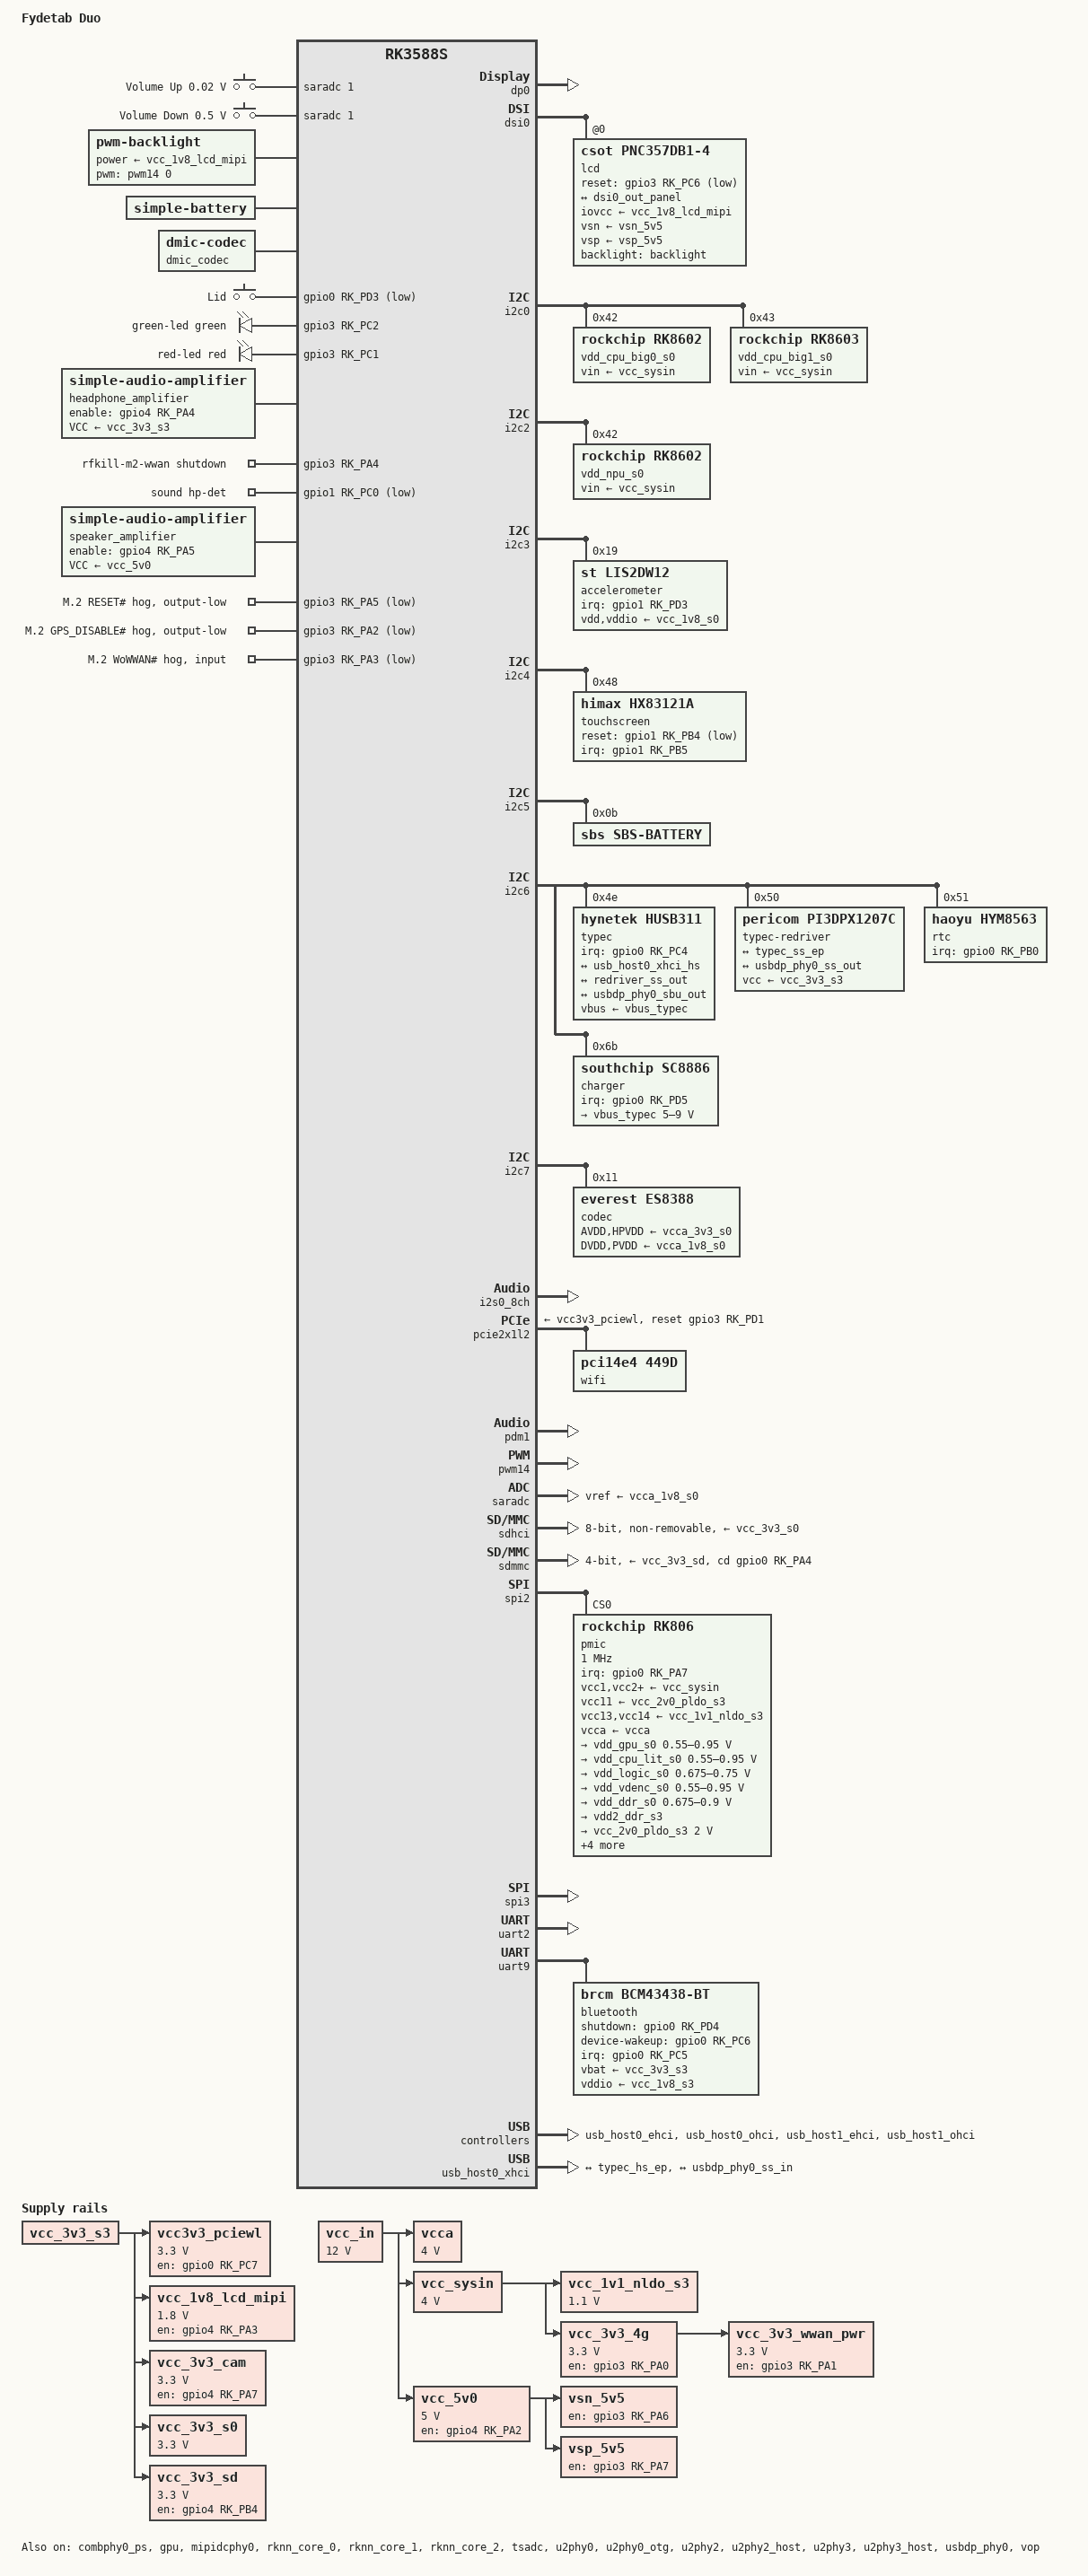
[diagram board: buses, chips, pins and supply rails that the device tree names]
// SPDX-License-Identifier: (GPL-2.0+ OR MIT)

/dts-v1/;

#include <dt-bindings/gpio/gpio.h>
#include <dt-bindings/input/gpio-keys.h>
#include <dt-bindings/input/linux-event-codes.h>
#include <dt-bindings/leds/common.h>
#include <dt-bindings/pinctrl/rockchip.h>
#include <dt-bindings/pwm/pwm.h>
#include <dt-bindings/soc/rockchip,vop2.h>
#include <dt-bindings/usb/pd.h>
#include "rk3588s.dtsi"

/ {
	model = "Fydetab Duo";
	chassis-type = "tablet";
	compatible = "fyde,fydetab-duo", "rockchip,rk3588s";

	aliases {
		mmc0 = &sdhci;
		mmc1 = &sdmmc;
	};

	chosen {
		stdout-path = "serial2:1500000n8";
	};

	adc-keys {
		compatible = "adc-keys";
		io-channels = <&saradc 1>;
		io-channel-names = "buttons";
		keyup-threshold-microvolt = <1800000>;
		poll-interval = <60>;

		button-vol-up {
			label = "Volume Up";
			linux,code = <KEY_VOLUMEUP>;
			press-threshold-microvolt = <20000>;
		};

		button-vol-down {
			label = "Volume Down";
			linux,code = <KEY_VOLUMEDOWN>;
			press-threshold-microvolt = <500000>;
		};
	};

	backlight: backlight {
		compatible = "pwm-backlight";
		pwms = <&pwm14 0 25000 0>;
		brightness-levels = <20 255>;
		num-interpolated-steps = <235>;
		default-brightness-level = <200>;
		power-supply = <&vcc_1v8_lcd_mipi>; // TODO: actually vcc_led0 but shares lcd_pwren_h gpio for power
		post-pwm-on-delay-ms = <250>;
	};

	// TODO: get rid of this
	battery: battery {
		compatible = "simple-battery";
		constant-charge-current-max-microamp = <2500000>;
		constant-charge-voltage-max-microvolt = <13200000>;
		voltage-min-design-microvolt = <9216000>;
	};

	dmic_codec: dmic-codec {
		compatible = "dmic-codec";
		num-channels = <2>;
		#sound-dai-cells = <0>;
	};

	gpio-keys {
		compatible = "gpio-keys";
		pinctrl-0 = <&hall_int_l>;
		pinctrl-names = "default";

		lid-switch {
			debounce-interval = <20>;
			gpios = <&gpio0 RK_PD3 GPIO_ACTIVE_LOW>;
			label = "Lid";
			linux,input-type = <EV_SW>;
			linux,code = <SW_LID>;
			wakeup-source;
			wakeup-event-action = <EV_ACT_DEASSERTED>;
		};
	};

	gpio-leds {
		compatible = "gpio-leds";
		pinctrl-0 = <&g_led_l
			     &r_led_l>;
		pinctrl-names = "default";

		green-led {
			color = <LED_COLOR_ID_GREEN>;
			gpios = <&gpio3 RK_PC2 GPIO_ACTIVE_HIGH>;
		};

		red-led {
			color = <LED_COLOR_ID_RED>;
			function = LED_FUNCTION_CHARGING;
			gpios = <&gpio3 RK_PC1 GPIO_ACTIVE_HIGH>;
			retain-state-suspended;
		};
	};

	headphone_amplifier: headphone-amplifier {
		compatible = "simple-audio-amplifier";
		pinctrl-0 = <&phone_ctl>;
		pinctrl-names = "default";
		enable-gpios = <&gpio4 RK_PA4 GPIO_ACTIVE_HIGH>;
		sound-name-prefix = "Headphone Amplifier";
		VCC-supply = <&vcc_3v3_s3>;
	};

	rfkill-wwan {
		compatible = "rfkill-gpio";
		pinctrl-0 = <&w_disable1_n>;
		pinctrl-names = "default";
		label = "rfkill-m2-wwan";
		radio-type = "wwan";
		shutdown-gpios = <&gpio3 RK_PA4 GPIO_ACTIVE_HIGH>;
	};

	sound {
		compatible = "simple-audio-card";
		pinctrl-0 = <&hp_det_l>;
		pinctrl-names = "default";
		simple-audio-card,name = "FydetabDuo";
		simple-audio-card,aux-devs = <&headphone_amplifier>,
					     <&speaker_amplifier>;
		simple-audio-card,hp-det-gpios = <&gpio1 RK_PC0 GPIO_ACTIVE_LOW>;
		simple-audio-card,pin-switches = "Headphones", "Speaker";
		simple-audio-card,routing =
			"Speaker Amplifier INL", "LOUT2",
			"Speaker Amplifier INR", "ROUT2",
			"Speaker", "Speaker Amplifier OUTL",
			"Speaker", "Speaker Amplifier OUTR",
			"Headphone Amplifier INL", "LOUT1",
			"Headphone Amplifier INR", "ROUT1",
			"Headphones", "Headphone Amplifier OUTL",
			"Headphones", "Headphone Amplifier OUTR",
			"LINPUT1", "Headset",
			"DMic", "Microphone";
		simple-audio-card,widgets =
			"Microphone", "Headset",
			"Microphone", "Microphone",
			"Headphone", "Headphones",
			"Speaker", "Speaker";
		#address-cells = <1>;
		#size-cells = <0>;

		simple-audio-card,dai-link@0 {
			reg = <0>;
			bitclock-master = <&link0_cpu>;
			format = "i2s";
			frame-master = <&link0_cpu>;
			mclk-fs = <256>;

			link0_cpu: cpu {
				sound-dai = <&i2s0_8ch>;
			};

			codec {
				sound-dai = <&codec>;
				system-clock-frequency = <12288000>;
			};
		};

		simple-audio-card,dai-link@1 {
			reg = <1>;
			bitclock-master = <&link1_cpu>;
			format = "pdm";
			frame-master = <&link1_cpu>;

			link1_cpu: cpu {
				sound-dai = <&pdm1>;
			};

			codec {
				sound-dai = <&dmic_codec>;
			};
		};
	};

	speaker_amplifier: speaker-amplifier {
		compatible = "simple-audio-amplifier";
		pinctrl-0 = <&spk_ctl_h>;
		pinctrl-names = "default";
		enable-gpios = <&gpio4 RK_PA5 GPIO_ACTIVE_HIGH>;
		sound-name-prefix = "Speaker Amplifier";
		VCC-supply = <&vcc_5v0>;
	};

	vcc3v3_pciewl: regulator-vcc3v3-pciewl {
		compatible = "regulator-fixed";
		pinctrl-0 = <&wifi_reg_on_h>;
		pinctrl-names = "default";
		enable-active-high;
		gpios = <&gpio0 RK_PC7 GPIO_ACTIVE_HIGH>;
		regulator-name = "vcc3v3_pciewl";
		regulator-min-microvolt = <3300000>;
		regulator-max-microvolt = <3300000>;
		vin-supply = <&vcc_3v3_s3>;
	};

	vcca: regulator-vcca {
		compatible = "regulator-fixed";
		regulator-name = "vcca";
		regulator-always-on;
		regulator-boot-on;
		regulator-min-microvolt = <4000000>;
		regulator-max-microvolt = <4000000>;
		vin-supply = <&vcc_in>;
	};

	vcc_in: regulator-vcc-in {
		compatible = "regulator-fixed";
		regulator-name = "vcc_in";
		regulator-always-on;
		regulator-boot-on;
		regulator-min-microvolt = <12000000>;
		regulator-max-microvolt = <12000000>;
	};

	vcc_sysin: regulator-vcc-sysin {
		compatible = "regulator-fixed";
		regulator-name = "vcc_sysin";
		regulator-always-on;
		regulator-boot-on;
		regulator-min-microvolt = <4000000>;
		regulator-max-microvolt = <4000000>;
		vin-supply = <&vcc_in>;
	};

	vcc_1v1_nldo_s3: regulator-vcc-1v1-nldo-s3 {
		compatible = "regulator-fixed";
		regulator-name = "vcc_1v1_nldo_s3";
		regulator-always-on;
		regulator-boot-on;
		regulator-min-microvolt = <1100000>;
		regulator-max-microvolt = <1100000>;
		vin-supply = <&vcc_sysin>;
	};

	vcc_1v8_lcd_mipi: regulator-vcc-1v8-lcd-mipi {
		compatible = "regulator-fixed";
		pinctrl-0 = <&lcd_pwren_h>;
		pinctrl-names = "default";
		enable-active-high;
		gpios = <&gpio4 RK_PA3 GPIO_ACTIVE_HIGH>;
		regulator-name = "vcc_1v8_lcd_mipi";
		regulator-boot-on;
		regulator-min-microvolt = <1800000>;
		regulator-max-microvolt = <1800000>;
		vin-supply = <&vcc_3v3_s3>;
	};

	vcc_3v3_4g: regulator-vcc-4g {
		compatible = "regulator-fixed";
		pinctrl-0 = <&lte_pwren_h>;
		pinctrl-names = "default";
		enable-active-high;
		gpios = <&gpio3 RK_PA0 GPIO_ACTIVE_HIGH>;
		regulator-name = "vcc_3v3_4g";
		regulator-min-microvolt = <3300000>;
		regulator-max-microvolt = <3300000>;
		startup-delay-us = <30000>;
		vin-supply = <&vcc_sysin>;
	};

	vcc_3v3_cam: regulator-vcc-3v3-cam {
		compatible = "regulator-fixed";
		pinctrl-0 = <&mipi_cam3_pwren_h>;
		pinctrl-names = "default";
		enable-active-high;
		gpios = <&gpio4 RK_PA7 GPIO_ACTIVE_HIGH>;
		regulator-name = "vcc_3v3_cam";
		regulator-always-on; // TODO: tell userspace about this somehow?
		regulator-boot-on;
		regulator-min-microvolt = <3300000>;
		regulator-max-microvolt = <3300000>;
		vin-supply = <&vcc_3v3_s3>;
	};

	vcc_3v3_s0: regulator-vcc-3v3-s0 {
		compatible = "regulator-fixed";
		regulator-name = "vcc_3v3_s0";
		regulator-always-on;
		regulator-boot-on;
		regulator-min-microvolt = <3300000>;
		regulator-max-microvolt = <3300000>;
		vin-supply = <&vcc_3v3_s3>;
	};

	vcc_3v3_sd: regulator-vcc-3v3-sd {
		compatible = "regulator-fixed";
		pinctrl-0 = <&sdmmc_pwren>;
		pinctrl-names = "default";
		enable-active-high;
		gpios = <&gpio4 RK_PB4 GPIO_ACTIVE_HIGH>;
		regulator-name = "vcc_3v3_sd";
		regulator-min-microvolt = <3300000>;
		regulator-max-microvolt = <3300000>;
		vin-supply = <&vcc_3v3_s3>;
	};

	vcc_3v3_wwan_pwr: regulator-vcc-3v3-wwan-pwr {
		compatible = "regulator-fixed";
		pinctrl-0 = <&lte_modem_power_on_off>;
		pinctrl-names = "default";
		enable-active-high;
		gpios = <&gpio3 RK_PA1 GPIO_ACTIVE_HIGH>;
		regulator-name = "vcc_3v3_wwan_pwr";
		regulator-min-microvolt = <3300000>;
		regulator-max-microvolt = <3300000>;
		vin-supply = <&vcc_3v3_4g>;
	};

	vcc_5v0: regulator-vcc-5v0 {
		compatible = "regulator-fixed";
		pinctrl-0 = <&vcc_5v0_pwren_h>;
		pinctrl-names = "default";
		enable-active-high;
		gpios = <&gpio4 RK_PA2 GPIO_ACTIVE_HIGH>;
		regulator-name = "vcc_5v0";
		regulator-always-on; // TODO: supplies pogo pins
		regulator-boot-on;
		regulator-min-microvolt = <5000000>;
		regulator-max-microvolt = <5000000>;
		vin-supply = <&vcc_in>;
	};

	vsn_5v5: regulator-vsn-5v5 {
		compatible = "regulator-fixed";
		pinctrl-0 = <&avee_lcd_en>;
		pinctrl-names = "default";
		enable-active-high;
		gpios = <&gpio3 RK_PA6 GPIO_ACTIVE_HIGH>;
		regulator-name = "vsn_5v5";
		regulator-boot-on;
		vin-supply = <&vcc_5v0>;
	};

	vsp_5v5: regulator-vsp-5v5 {
		compatible = "regulator-fixed";
		pinctrl-0 = <&avdd_lcd_en>;
		pinctrl-names = "default";
		enable-active-high;
		gpios = <&gpio3 RK_PA7 GPIO_ACTIVE_HIGH>;
		regulator-name = "vsp_5v5";
		regulator-boot-on;
		vin-supply = <&vcc_5v0>;
	};
};

&combphy0_ps {
	status = "okay";
};

&cpu_b0 {
	cpu-supply = <&vdd_cpu_big0_s0>;
};

&cpu_b1 {
	cpu-supply = <&vdd_cpu_big0_s0>;
};

&cpu_b2 {
	cpu-supply = <&vdd_cpu_big1_s0>;
};

&cpu_b3 {
	cpu-supply = <&vdd_cpu_big1_s0>;
};

&cpu_l0 {
	cpu-supply = <&vdd_cpu_lit_s0>;
};

&cpu_l1 {
	cpu-supply = <&vdd_cpu_lit_s0>;
};

&cpu_l2 {
	cpu-supply = <&vdd_cpu_lit_s0>;
};

&cpu_l3 {
	cpu-supply = <&vdd_cpu_lit_s0>;
};

&dp0 {
	status = "okay";
};

&dp0_in {
	dp0_in_vp0: endpoint {
		remote-endpoint = <&vp0_out_dp0>;
	};
};

&dp0_out {
	dp0_out_con: endpoint {
		remote-endpoint = <&usbdp_phy0_dp_in>;
	};
};

&dsi0 {
	status = "okay";
	#address-cells = <1>;
	#size-cells = <0>;

	lcd: panel@0 {
		compatible = "csot,pnc357db1-4";
		reg = <0>;
		backlight = <&backlight>;
		pinctrl-0 = <&lcd_rst_n>;
		pinctrl-names = "default";
		reset-gpios = <&gpio3 RK_PC6 GPIO_ACTIVE_LOW>;
		iovcc-supply = <&vcc_1v8_lcd_mipi>;
		vsn-supply = <&vsn_5v5>;
		vsp-supply = <&vsp_5v5>;
		rotation = <90>;

		port {
			dsi_panel_in: endpoint {
				remote-endpoint = <&dsi0_out_panel>;
			};
		};
	};
};

&dsi0_in {
	dsi0_in_vp2: endpoint {
		remote-endpoint = <&vp2_out_dsi0>;
	};
};

&dsi0_out {
	dsi0_out_panel: endpoint {
		remote-endpoint = <&dsi_panel_in>;
	};
};

&gpio3 {
	4g-rst-n-hog {
		gpios = <RK_PA5 GPIO_ACTIVE_LOW>;
		output-low;
		line-name = "M.2 RESET#";
		gpio-hog;
	};

	w-disable2-n-hog {
		gpios = <RK_PA2 GPIO_ACTIVE_LOW>;
		output-low;
		line-name = "M.2 GPS_DISABLE#";
		gpio-hog;
	};

	wowwan-n-hog {
		gpios = <RK_PA3 GPIO_ACTIVE_LOW>;
		input;
		line-name = "M.2 WoWWAN#";
		gpio-hog;
	};
};

&gpu {
	mali-supply = <&vdd_gpu_s0>;
	status = "okay";
};

&i2c0 {
	pinctrl-0 = <&i2c0m2_xfer>;
	status = "okay";

	vdd_cpu_big0_s0: regulator@42 {
		compatible = "rockchip,rk8602";
		reg = <0x42>;
		fcs,suspend-voltage-selector = <1>;
		regulator-name = "vdd_cpu_big0_s0";
		regulator-always-on;
		regulator-boot-on;
		regulator-min-microvolt = <550000>;
		regulator-max-microvolt = <1050000>;
		regulator-ramp-delay = <2300>;
		vin-supply = <&vcc_sysin>;

		regulator-state-mem {
			regulator-off-in-suspend;
		};
	};

	vdd_cpu_big1_s0: regulator@43 {
		compatible = "rockchip,rk8603", "rockchip,rk8602";
		reg = <0x43>;
		fcs,suspend-voltage-selector = <1>;
		regulator-name = "vdd_cpu_big1_s0";
		regulator-always-on;
		regulator-boot-on;
		regulator-min-microvolt = <550000>;
		regulator-max-microvolt = <1050000>;
		regulator-ramp-delay = <2300>;
		vin-supply = <&vcc_sysin>;

		regulator-state-mem {
			regulator-off-in-suspend;
		};
	};
};

&i2c2 {
	pinctrl-0 = <&i2c2m0_xfer>;
	status = "okay";

	vdd_npu_s0: regulator@42 {
		compatible = "rockchip,rk8602";
		reg = <0x42>;
		fcs,suspend-voltage-selector = <1>;
		regulator-name = "vdd_npu_s0";
		//regulator-min-microvolt = <550000>; TODO: Put back once NPU DVFS is sorted
		//regulator-max-microvolt = <950000>;
		regulator-min-microvolt = <675000>;
		regulator-max-microvolt = <675000>;
		regulator-ramp-delay = <2300>;
		vin-supply = <&vcc_sysin>;

		regulator-state-mem {
			regulator-off-in-suspend;
		};
	};
};

&i2c3 {
	pinctrl-0 = <&i2c3m1_xfer>;
	status = "okay";

	accelerometer@19 {
		compatible = "st,lis2dw12";
		reg = <0x19>;
		st,drdy-int-pin = <1>;
		vdd-supply = <&vcc_1v8_s0>;
		vddio-supply = <&vcc_1v8_s0>;
		interrupt-parent = <&gpio1>;
		interrupts = <RK_PD3 IRQ_TYPE_LEVEL_LOW>;
		pinctrl-0 = <&gsensor_int_l>;
		pinctrl-names = "default";
		mount-matrix = "0", "1", "0",
			       "1", "0", "0",
			       "0", "0", "-1";
	};
};

&i2c4 {
	pinctrl-0 = <&i2c4m3_xfer>;
	status = "okay";

	touchscreen@48 {
		compatible = "himax,hx83121a";
		reg = <0x48>;
		interrupt-parent = <&gpio1>;
		interrupts = <RK_PB5 IRQ_TYPE_LEVEL_LOW>;
		pinctrl-0 = <&tp_int_l
			     &tp_rst_l>;
		pinctrl-names = "default";
		panel = <&lcd>;
		touchscreen-size-x = <1600>;
		touchscreen-size-y = <2560>;
		reset-gpios = <&gpio1 RK_PB4 GPIO_ACTIVE_LOW>;
	};
};

&i2c5 {
	pinctrl-0 = <&i2c5m3_xfer>;
	status = "okay";

	sbs-battery@b {
		compatible = "sbs,sbs-battery";
		reg = <0x0b>;
		monitored-battery = <&battery>;
		power-supplies = <&charger>;
		sbs,poll-retry-count = <100>;
		sbs,i2c-retry-count = <100>;
	};
};

&i2c6 {
	pinctrl-0 = <&i2c6m3_xfer>;
	status = "okay";

	typec: typec@4e {
		compatible = "hynetek,husb311";
		reg = <0x4e>;
		interrupt-parent = <&gpio0>;
		interrupts = <RK_PC4 IRQ_TYPE_LEVEL_LOW>;
		pinctrl-0 = <&cc_int0_l>;
		pinctrl-names = "default";
		self-powered;
		vbus-supply = <&vbus_typec>;

		connector {
			compatible = "usb-c-connector";
			label = "USB-C";
			power-role = "dual";
			try-power-role = "sink";
			data-role = "dual";
			op-sink-microwatt = <1000000>;

			source-pdos = <PDO_FIXED(5000, 3000,
						 PDO_FIXED_DUAL_ROLE |
						 PDO_FIXED_USB_COMM |
						 PDO_FIXED_DATA_SWAP)>,
				      <PDO_FIXED(9000, 2000, 0)>;

			sink-pdos = <PDO_FIXED(5000, 3000,
					       PDO_FIXED_DUAL_ROLE |
					       PDO_FIXED_USB_COMM |
					       PDO_FIXED_DATA_SWAP)>,
				    <PDO_VAR(5000, 20000, 3000)>;

			altmodes {
				displayport {
					svid = /bits/ 16 <0xff01>;
					vdo = <0xffffffff>;
				};
			};

			ports {
				#address-cells = <1>;
				#size-cells = <0>;

				port@0 {
					reg = <0>;

					typec_hs_ep: endpoint {
						remote-endpoint = <&usb_host0_xhci_hs>;
					};
				};

				port@1 {
					reg = <1>;

					typec_ss_ep: endpoint {
						remote-endpoint = <&redriver_ss_out>;
					};
				};

				port@2 {
					reg = <2>;

					typec_sbu_ep: endpoint {
						remote-endpoint = <&usbdp_phy0_sbu_out>;
					};
				};
			};
		};
	};

	typec-redriver@50 {
		compatible = "pericom,pi3dpx1207c";
		reg = <0x50>;
		vcc-supply = <&vcc_3v3_s3>;
		orientation-switch;
		retimer-switch;

		ports {
			#address-cells = <1>;
			#size-cells = <0>;

			port@0 {
				reg = <0>;

				redriver_ss_out: endpoint {
					remote-endpoint = <&typec_ss_ep>;
				};
			};

			port@1 {
				reg = <1>;

				redriver_ss_in: endpoint {
					data-lanes = <0 1 2 3>;
					remote-endpoint = <&usbdp_phy0_ss_out>;
				};
			};
		};
	};

	rtc: rtc@51 {
		compatible = "haoyu,hym8563";
		reg = <0x51>;
		#clock-cells = <0>;
		clock-output-names = "hym8563";
		interrupt-parent = <&gpio0>;
		interrupts = <RK_PB0 IRQ_TYPE_LEVEL_LOW>;
		pinctrl-0 = <&rtc_int_l>;
		pinctrl-names = "default";
		wakeup-source;
	};

	charger: charger@6b {
		compatible = "southchip,sc8886";
		reg = <0x6b>;
		interrupt-parent = <&gpio0>;
		interrupts = <RK_PD5 IRQ_TYPE_LEVEL_LOW>;
		pinctrl-0 = <&chrg_ok_h>;
		pinctrl-names = "default";
		input-current-limit-microamp = <5000000>;
		monitored-battery = <&battery>;
		power-supplies = <&typec>;

		regulators {
			vbus_typec: vbus {
				enable-gpios = <&gpio4 RK_PA6 GPIO_ACTIVE_HIGH>;
				pinctrl-0 = <&bq_otg_en_h>;
				pinctrl-names = "default";
				regulator-min-microamp = <500000>;
				regulator-min-microvolt = <5000000>;
				regulator-max-microamp = <3000000>;
				regulator-max-microvolt = <9000000>;
				regulator-name = "vbus_typec";
			};
		};
	};
};

&i2c7 {
	pinctrl-0 = <&i2c7m0_xfer>;
	status = "okay";

	codec: audio-codec@11 {
		compatible = "everest,es8388", "everest,es8328";
		reg = <0x11>;
		assigned-clocks = <&cru I2S0_8CH_MCLKOUT>;
		assigned-clock-rates = <12288000>;
		AVDD-supply = <&vcca_3v3_s0>;
		clocks = <&cru I2S0_8CH_MCLKOUT>;
		DVDD-supply = <&vcca_1v8_s0>;
		HPVDD-supply = <&vcca_3v3_s0>;
		PVDD-supply = <&vcca_1v8_s0>;
		#sound-dai-cells = <0>;
	};
};

&i2s0_8ch {
	pinctrl-0 = <&i2s0_lrck
		     &i2s0_mclk
		     &i2s0_sclk
		     &i2s0_sdi0
		     &i2s0_sdo0>;
	status = "okay";
};

&mipidcphy0 {
	status = "okay";
};

&pcie2x1l2 {
	pinctrl-0 = <&pcie20x1m0_clkreqn
		     &pcie20x1m0_perstn
		     &pcie20x1m0_waken>;
	pinctrl-names = "default";
	reset-gpios = <&gpio3 RK_PD1 GPIO_ACTIVE_HIGH>;
	vpcie3v3-supply = <&vcc3v3_pciewl>;
	status = "okay";

	pci@0,0 {
		device_type = "pci";
		reg = <0x400000 0 0 0 0>;
		bus-range = <0x40 0x4f>;
		#address-cells = <3>;
		#size-cells = <2>;
		ranges;

		wifi@0,0 {
			compatible = "pci14e4,449d";
			reg = <0x410000 0 0 0 0>;
			clocks = <&rtc>;
			clock-names = "lpo";
		};
	};
};

&pd_gpu {
	domain-supply = <&vdd_gpu_s0>;
};

&pd_npu {
	domain-supply = <&vdd_npu_s0>;
};

&pdm1 {
	pinctrl-0 = <&pdm1m1_clk1
		     &pdm1m1_sdi3>;
	/* Microphone is on channel 3 */
	rockchip,path-map = <3>, <0>, <1>, <2>;
	status = "okay";
};

&pinctrl {
	accelerometer {
		gsensor_int_l: gsensor-int-l {
			rockchip,pins = <1 RK_PD3 RK_FUNC_GPIO &pcfg_pull_none>;
		};
	};

	backlight {
		lcd_pwren_h: lcd-pwren-h {
			rockchip,pins = <4 RK_PA3 RK_FUNC_GPIO &pcfg_pull_none>;
		};
	};

	bluetooth {
		bt_reg_on_h: bt-reg-on-h {
			rockchip,pins = <0 RK_PD4 RK_FUNC_GPIO &pcfg_pull_none>;
		};

		bt_wake_host_h: bt-wake-host-h {
			rockchip,pins = <0 RK_PC5 RK_FUNC_GPIO &pcfg_pull_none>;
		};

		host_wake_bt_h: host-wake-bt-h {
			rockchip,pins = <0 RK_PC6 RK_FUNC_GPIO &pcfg_pull_none>;
		};
	};

	camera {
		mipi_cam3_pwren_h: mipi-cam3-pwren-h {
			rockchip,pins = <4 RK_PA7 RK_FUNC_GPIO &pcfg_pull_none>;
		};
	};

	charger {
		bq_otg_en_h: bq-otg-en-h {
			rockchip,pins = <4 RK_PA6 RK_FUNC_GPIO &pcfg_pull_none>;
		};

		chrg_ok_h: chrg-ok-h {
			rockchip,pins = <0 RK_PD5 RK_FUNC_GPIO &pcfg_pull_none>;
		};
	};

	gpio-keys {
		hall_int_l: hall-int-l {
			rockchip,pins = <0 RK_PD3 RK_FUNC_GPIO &pcfg_pull_none>;
		};
	};

	gpio-leds {
		g_led_l: g-led-l {
			rockchip,pins = <3 RK_PC2 RK_FUNC_GPIO &pcfg_pull_none>;
		};

		r_led_l: r-led-l {
			rockchip,pins = <3 RK_PC1 RK_FUNC_GPIO &pcfg_pull_none>;
		};
	};

	panel {
		avdd_lcd_en: avdd-lcd-en {
			rockchip,pins = <3 RK_PA7 RK_FUNC_GPIO &pcfg_pull_none>;
		};

		avee_lcd_en: avee-lcd-en {
			rockchip,pins = <3 RK_PA6 RK_FUNC_GPIO &pcfg_pull_none>;
		};

		lcd_rst_n: lcd-rst-n {
			rockchip,pins = <3 RK_PC6 RK_FUNC_GPIO &pcfg_pull_none>;
		};
	};

	regulator-vcc-5v0 {
		vcc_5v0_pwren_h: vcc-5v0-pwren-h {
			rockchip,pins = <4 RK_PA2 RK_FUNC_GPIO &pcfg_pull_none>;
		};
	};

	rtc {
		rtc_int_l: rtc-int-l {
			rockchip,pins = <0 RK_PB0 RK_FUNC_GPIO &pcfg_pull_none>;
		};
	};

	sdmmc {
		sdmmc_pwren: sdmmc-pwren {
			rockchip,pins = <4 RK_PB4 RK_FUNC_GPIO &pcfg_pull_none>;
		};
	};

	sound {
		hp_det_l: hp-det-l {
			rockchip,pins = <1 RK_PC0 RK_FUNC_GPIO &pcfg_pull_none>;
		};

		phone_ctl: phone-ctl {
			rockchip,pins = <4 RK_PA4 RK_FUNC_GPIO &pcfg_pull_none>;
		};

		spk_ctl_h: spk-ctl-h {
			rockchip,pins = <4 RK_PA5 RK_FUNC_GPIO &pcfg_pull_none>;
		};
	};

	touchscreen {
		tp_int_l: tp-int-l {
			rockchip,pins = <1 RK_PB5 RK_FUNC_GPIO &pcfg_pull_none>;
		};

		tp_rst_l: tp-rst-l {
			rockchip,pins = <1 RK_PB4 RK_FUNC_GPIO &pcfg_pull_none>;
		};
	};

	typec {
		cc_int0_l: cc-int0-l {
			rockchip,pins = <0 RK_PC4 RK_FUNC_GPIO &pcfg_pull_none>;
		};
	};

	usbdp-phy0 {
		typec0_sbu: typec0-sbu {
			rockchip,pins = <4 RK_PA0 RK_FUNC_GPIO &pcfg_pull_none>,
					<4 RK_PA1 RK_FUNC_GPIO &pcfg_pull_none>;
		};
	};

	wifi {
		wifi_reg_on_h: wifi-reg-on-h {
			rockchip,pins = <0 RK_PC7 RK_FUNC_GPIO &pcfg_pull_none>;
		};
	};

	wwan {
		lte_modem_power_on_off: lte-modem-power-on-off {
			rockchip,pins = <3 RK_PA1 RK_FUNC_GPIO &pcfg_pull_none>;
		};

		lte_pwren_h: lte-pwren-h {
			rockchip,pins = <3 RK_PA0 RK_FUNC_GPIO &pcfg_pull_none>;
		};

		w_disable1_n: w-disable1-n {
			rockchip,pins = <3 RK_PA4 RK_FUNC_GPIO &pcfg_pull_none>;
		};
	};
};

&pwm14 {
	pinctrl-0 = <&pwm14m1_pins>;
	status = "okay";
};

&rknn_core_0 {
	npu-supply = <&vdd_npu_s0>;
	sram-supply = <&vdd_npu_s0>;
	status = "okay";
};

&rknn_core_1 {
	npu-supply = <&vdd_npu_s0>;
	sram-supply = <&vdd_npu_s0>;
	status = "okay";
};

&rknn_core_2 {
	npu-supply = <&vdd_npu_s0>;
	sram-supply = <&vdd_npu_s0>;
	status = "okay";
};

&rknn_mmu_0 {
	status = "okay";
};

&rknn_mmu_1 {
	status = "okay";
};

&rknn_mmu_2 {
	status = "okay";
};

&saradc {
	vref-supply = <&vcca_1v8_s0>;
	status = "okay";
};

&sdhci {
	bus-width = <8>;
	no-sd;
	no-sdio;
	non-removable;
	mmc-hs400-1_8v;
	mmc-hs400-enhanced-strobe;
	vmmc-supply = <&vcc_3v3_s0>;
	vqmmc-supply = <&vcc_1v8_s3>;
	status = "okay";
};

&sdmmc {
	bus-width = <4>;
	cap-mmc-highspeed;
	cap-sd-highspeed;
	cd-gpios = <&gpio0 RK_PA4 GPIO_ACTIVE_HIGH>;
	disable-wp;
	max-frequency = <150000000>;
	no-sdio;
	no-mmc;
	//sd-uhs-sdr104; TODO: Validate
	vmmc-supply = <&vcc_3v3_sd>;
	vqmmc-supply = <&vccio_sd_s0>;
	status = "okay";
};

&spi2 {
	assigned-clocks = <&cru CLK_SPI2>;
	assigned-clock-rates = <200000000>;
	num-cs = <1>;
	pinctrl-0 = <&spi2m2_cs0
		     &spi2m2_pins>;
	status = "okay";
	#address-cells = <1>;
	#size-cells = <0>;

	pmic@0 {
		compatible = "rockchip,rk806";
		reg = <0>;
		interrupt-parent = <&gpio0>;
		interrupts = <RK_PA7 IRQ_TYPE_LEVEL_LOW>;
		pinctrl-0 = <&pmic_pins
			     &rk806_dvs1_null
			     &rk806_dvs2_null
			     &rk806_dvs3_null>;
		pinctrl-names = "default";
		spi-max-frequency = <1000000>;
		system-power-controller;

		vcc1-supply = <&vcc_sysin>;
		vcc2-supply = <&vcc_sysin>;
		vcc3-supply = <&vcc_sysin>;
		vcc4-supply = <&vcc_sysin>;
		vcc5-supply = <&vcc_sysin>;
		vcc6-supply = <&vcc_sysin>;
		vcc7-supply = <&vcc_sysin>;
		vcc8-supply = <&vcc_sysin>;
		vcc9-supply = <&vcc_sysin>;
		vcc10-supply = <&vcc_sysin>;
		vcc11-supply = <&vcc_2v0_pldo_s3>;
		vcc12-supply = <&vcc_sysin>;
		vcc13-supply = <&vcc_1v1_nldo_s3>;
		vcc14-supply = <&vcc_1v1_nldo_s3>;
		vcca-supply = <&vcca>;

		gpio-controller;
		#gpio-cells = <2>;

		rk806_dvs1_null: dvs1-null-pins {
			pins = "gpio_pwrctrl1";
			function = "pin_fun0";
		};

		rk806_dvs2_null: dvs2-null-pins {
			pins = "gpio_pwrctrl2";
			function = "pin_fun0";
		};

		rk806_dvs3_null: dvs3-null-pins {
			pins = "gpio_pwrctrl3";
			function = "pin_fun0";
		};

		regulators {
			vdd_gpu_s0: dcdc-reg1 {
				regulator-name = "vdd_gpu_s0";
				regulator-boot-on;
				regulator-min-microvolt = <550000>;
				regulator-max-microvolt = <950000>;
				regulator-ramp-delay = <12500>;
				regulator-enable-ramp-delay = <400>;

				regulator-state-mem {
					regulator-off-in-suspend;
				};
			};

			vdd_cpu_lit_s0: dcdc-reg2 {
				regulator-name = "vdd_cpu_lit_s0";
				regulator-always-on;
				regulator-boot-on;
				regulator-min-microvolt = <550000>;
				regulator-max-microvolt = <950000>;
				regulator-ramp-delay = <12500>;

				regulator-state-mem {
					regulator-off-in-suspend;
				};
			};

			vdd_logic_s0: dcdc-reg3 {
				regulator-name = "vdd_logic_s0";
				regulator-always-on;
				regulator-boot-on;
				regulator-min-microvolt = <675000>;
				regulator-max-microvolt = <750000>;
				regulator-ramp-delay = <12500>;

				regulator-state-mem {
					regulator-off-in-suspend;
					regulator-suspend-microvolt = <750000>;
				};
			};

			vdd_vdenc_s0: dcdc-reg4 {
				regulator-name = "vdd_vdenc_s0";
				regulator-always-on; // TODO: why?
				regulator-boot-on;
				regulator-min-microvolt = <550000>;
				regulator-max-microvolt = <950000>;
				regulator-ramp-delay = <12500>;

				regulator-state-mem {
					regulator-off-in-suspend;
				};
			};

			vdd_ddr_s0: dcdc-reg5 {
				regulator-name = "vdd_ddr_s0";
				regulator-always-on;
				regulator-boot-on;
				regulator-min-microvolt = <675000>;
				regulator-max-microvolt = <900000>;
				regulator-ramp-delay = <12500>;

				regulator-state-mem {
					regulator-off-in-suspend;
					regulator-suspend-microvolt = <850000>;
				};
			};

			vdd2_ddr_s3: dcdc-reg6 {
				regulator-name = "vdd2_ddr_s3";
				regulator-always-on;
				regulator-boot-on;

				regulator-state-mem {
					regulator-on-in-suspend;
				};
			};

			/* Schematics show active during suspend but all consumers inactive */
			vcc_2v0_pldo_s3: dcdc-reg7 {
				regulator-name = "vcc_2v0_pldo_s3";
				regulator-always-on;
				regulator-boot-on;
				regulator-min-microvolt = <2000000>;
				regulator-max-microvolt = <2000000>;

				regulator-state-mem {
					regulator-on-in-suspend; // TODO: all consumers are off during suspend, can this be switched off too?
					regulator-suspend-microvolt = <2000000>;
				};
			};

			vcc_3v3_s3: dcdc-reg8 {
				regulator-name = "vcc_3v3_s3";
				regulator-always-on;
				regulator-boot-on;
				regulator-min-microvolt = <3300000>;
				regulator-max-microvolt = <3300000>;

				regulator-state-mem {
					regulator-on-in-suspend;
					regulator-suspend-microvolt = <3300000>;
				};
			};

			vddq_ddr_s0: dcdc-reg9 {
				regulator-name = "vddq_ddr_s0";
				regulator-always-on;
				regulator-boot-on;

				regulator-state-mem {
					regulator-off-in-suspend;
				};
			};

			vcc_1v8_s3: dcdc-reg10 {
				regulator-name = "vcc_1v8_s3";
				regulator-always-on;
				regulator-boot-on;
				regulator-min-microvolt = <1800000>;
				regulator-max-microvolt = <1800000>;

				regulator-state-mem {
					regulator-on-in-suspend;
					regulator-suspend-microvolt = <1800000>;
				};
			};

			vcc_1v8_s0: pldo-reg1 {
				regulator-name = "vcc_1v8_s0";
				regulator-always-on;
				regulator-boot-on;
				regulator-min-microvolt = <1800000>;
				regulator-max-microvolt = <1800000>;

				regulator-state-mem {
					regulator-off-in-suspend;
				};
			};

			vcca_1v8_s0: pldo-reg2 {
				regulator-name = "vcca_1v8_s0";
				regulator-always-on;
				regulator-boot-on;
				regulator-min-microvolt = <1800000>;
				regulator-max-microvolt = <1800000>;

				regulator-state-mem {
					regulator-off-in-suspend;
					regulator-suspend-microvolt = <1800000>;
				};
			};

			vdda_1v2_s0: pldo-reg3 {
				regulator-name = "vdda_1v2_s0";
				regulator-always-on;
				regulator-boot-on;
				regulator-min-microvolt = <1200000>;
				regulator-max-microvolt = <1200000>;

				regulator-state-mem {
					regulator-off-in-suspend;
				};
			};

			vcca_3v3_s0: pldo-reg4 {
				regulator-name = "vcca_3v3_s0";
				regulator-always-on;
				regulator-boot-on;
				regulator-min-microvolt = <3300000>;
				regulator-max-microvolt = <3300000>;

				regulator-state-mem {
					regulator-off-in-suspend;
				};
			};

			vccio_sd_s0: pldo-reg5 {
				regulator-name = "vccio_sd_s0";
				regulator-always-on; // TODO: why?
				regulator-boot-on;
				regulator-min-microvolt = <1800000>;
				regulator-max-microvolt = <3300000>;

				regulator-state-mem {
					regulator-off-in-suspend;
				};
			};

			/* Schematics show not in use */
			pldo-reg6 {
			};

			vdd_0v75_s3: nldo-reg1 {
				regulator-name = "vdd_0v75_s3";
				regulator-always-on;
				regulator-boot-on;
				regulator-min-microvolt = <750000>;
				regulator-max-microvolt = <750000>;

				regulator-state-mem {
					regulator-on-in-suspend;
					regulator-suspend-microvolt = <750000>;
				};
			};

			vdda_ddr_pll_s0: nldo-reg2 {
				regulator-name = "vdda_ddr_pll_s0";
				regulator-always-on;
				regulator-boot-on;
				regulator-min-microvolt = <850000>;
				regulator-max-microvolt = <850000>;

				regulator-state-mem {
					regulator-off-in-suspend;
					regulator-suspend-microvolt = <850000>;
				};
			};

			vdda_0v75_s0: nldo-reg3 {
				regulator-name = "vdda_0v75_s0";
				regulator-always-on;
				regulator-boot-on;
				regulator-min-microvolt = <750000>;
				regulator-max-microvolt = <750000>;

				regulator-state-mem {
					regulator-off-in-suspend;
				};
			};

			vdda_0v85_s0: nldo-reg4 {
				regulator-name = "vdda_0v85_s0";
				regulator-always-on;
				regulator-boot-on;
				regulator-min-microvolt = <850000>;
				regulator-max-microvolt = <850000>;

				regulator-state-mem {
					regulator-off-in-suspend;
				};
			};

			/* Schematics show not in use */
			nldo-reg5 {
			};
		};
	};
};

&spi3 {
	assigned-clocks = <&cru CLK_SPI3>;
	assigned-clock-rates = <200000000>;
	num-cs = <1>;
	pinctrl-0 = <&spi3m1_cs0
		     &spi3m1_pins>;
	status = "okay";

	/* Fingerprint reader */
};

&tsadc {
	status = "okay";
};

&u2phy0 {
	status = "okay";
};

&u2phy0_otg {
	status = "okay";
};

&u2phy2 {
	status = "okay";
};

&u2phy2_host {
	/* Connected to M.2 slot */
	phy-supply = <&vcc_3v3_wwan_pwr>;
	status = "okay";
};

&u2phy3 {
	status = "okay";
};

&u2phy3_host {
	/* Connected to USB hub, which is powered by vcc_3v3_s3 */
	phy-supply = <&vcc_3v3_s3>;
	status = "okay";
};

&uart2 {
	pinctrl-0 = <&uart2m0_xfer>;
	status = "okay";
};

&uart9 {
	pinctrl-0 = <&uart9m2_xfer
		     &uart9m2_ctsn
		     &uart9m2_rtsn>;
	uart-has-rtscts;
	status = "okay";

	bluetooth {
		compatible = "brcm,bcm43438-bt";
		interrupt-parent = <&gpio0>;
		interrupts = <RK_PC5 IRQ_TYPE_LEVEL_HIGH>;
		interrupt-names = "host-wakeup";
		pinctrl-0 = <&bt_reg_on_h
			     &bt_wake_host_h
			     &host_wake_bt_h>;
		pinctrl-names = "default";
		shutdown-gpios = <&gpio0 RK_PD4 GPIO_ACTIVE_HIGH>;
		device-wakeup-gpios = <&gpio0 RK_PC6 GPIO_ACTIVE_HIGH>;
		max-speed = <3000000>;
		clocks = <&rtc>;
		clock-names = "lpo";
		vbat-supply = <&vcc_3v3_s3>;
		vddio-supply = <&vcc_1v8_s3>;
	};
};

&usb_host0_ehci {
	status = "okay";
};

&usb_host0_ohci {
	status = "okay";
};

&usb_host0_xhci {
	usb-role-switch;
	status = "okay";

	ports {
		#address-cells = <1>;
		#size-cells = <0>;

		port@0 {
			reg = <0>;

			usb_host0_xhci_hs: endpoint {
				remote-endpoint = <&typec_hs_ep>;
			};
		};

		port@1 {
			reg = <1>;

			usb_host0_xhci_ss: endpoint {
				remote-endpoint = <&usbdp_phy0_ss_in>;
			};
		};
	};
};

&usb_host1_ehci {
	status = "okay";
};

&usb_host1_ohci {
	status = "okay";
};

&usbdp_phy0 {
	mode-switch;
	orientation-switch;
	pinctrl-0 = <&typec0_sbu>;
	pinctrl-names = "default";
	sbu1-dc-gpios = <&gpio4 RK_PA0 GPIO_ACTIVE_HIGH>;
	sbu2-dc-gpios = <&gpio4 RK_PA1 GPIO_ACTIVE_HIGH>;
	status = "okay";

	ports {
		#address-cells = <1>;
		#size-cells = <0>;

		port@0 {
			reg = <0>;

			usbdp_phy0_ss_out: endpoint {
				remote-endpoint = <&redriver_ss_in>;
			};
		};

		port@1 {
			reg = <1>;

			usbdp_phy0_ss_in: endpoint {
				remote-endpoint = <&usb_host0_xhci_ss>;
			};
		};

		port@2 {
			reg = <2>;

			usbdp_phy0_dp_in: endpoint {
				remote-endpoint = <&dp0_out_con>;
			};
		};

		port@3 {
			reg = <3>;

			usbdp_phy0_sbu_out: endpoint {
				remote-endpoint = <&typec_sbu_ep>;
			};
		};
	};
};

&vop {
	status = "okay";
};

&vop_mmu {
	status = "okay";
};

&vp0 {
	#address-cells = <1>;
	#size-cells = <0>;

	vp0_out_dp0: endpoint@a /* ROCKCHIP_VOP2_EP_DP0 */ {
		reg = <ROCKCHIP_VOP2_EP_DP0>;
		remote-endpoint = <&dp0_in_vp0>;
	};
};

&vp2 {
	#address-cells = <1>;
	#size-cells = <0>;

	vp2_out_dsi0: endpoint@ROCKCHIP_VOP2_EP_MIPI0 {
		reg = <ROCKCHIP_VOP2_EP_MIPI0>;
		remote-endpoint = <&dsi0_in_vp2>;
	};
};
